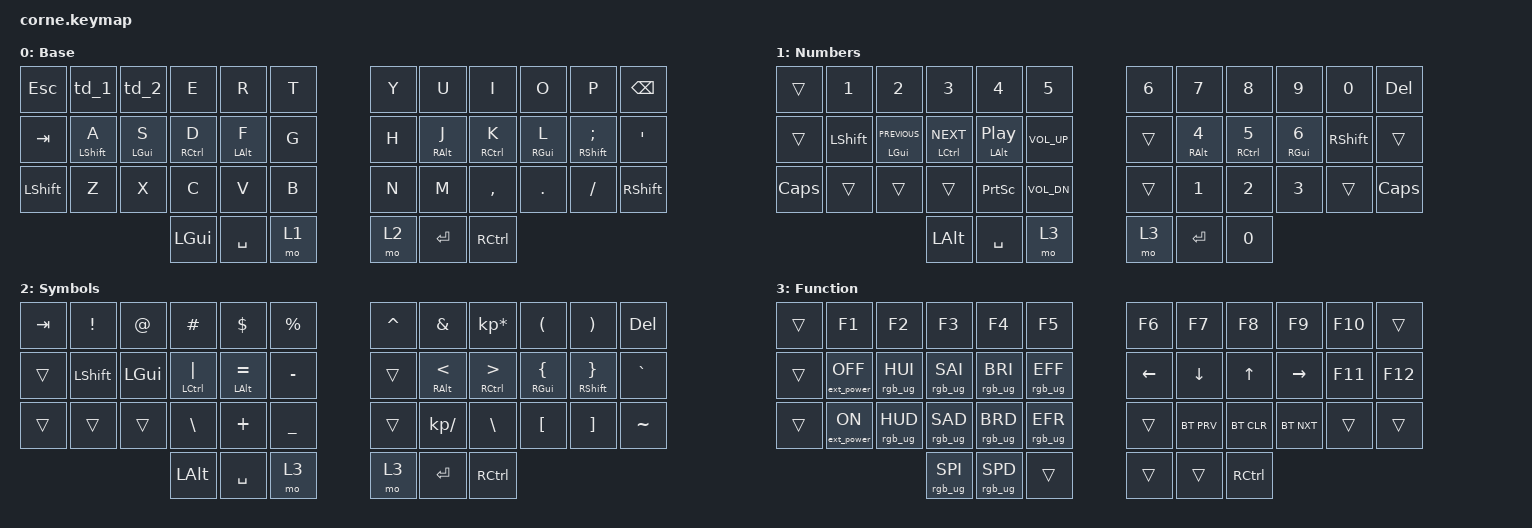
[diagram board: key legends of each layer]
/*
 * Copyright (c) 2020 The ZMK Contributors
 *
 * SPDX-License-Identifier: MIT
 */

#include <behaviors.dtsi>
#include <dt-bindings/zmk/keys.h>
#include <dt-bindings/zmk/bt.h>
#include <dt-bindings/zmk/rgb.h>
#include <dt-bindings/zmk/bt.h>
#include <dt-bindings/zmk/ext_power.h>
 
/ {
        behaviors {
            hr: home_row_mod {
                compatible = "zmk,behavior-hold-tap";
                #binding-cells = <2>;
                flavor = "tap-preferred";
                tapping-term-ms = <280>;
                quick-tap-ms = <175>;
                bindings = <&kp>, <&kp>;
                display-name = "Home-Row-Mod";
            };
             td_1: tap_dance_1 {
                compatible = "zmk,behavior-tap-dance";
                #binding-cells = <0>;
                tapping-term-ms = <200>;
                bindings = <&kp Q>, <&kp ESC>;
            };
            td_2: tap_dance_2 {
                compatible = "zmk,behavior-tap-dance";
                #binding-cells = <0>;
                tapping-term-ms = <200>;
                bindings = <&kp W>, <&kp TAB>;
            };
        };
        keymap {
                compatible = "zmk,keymap";
                default_layer {
                        display-name = "Base";
// -----------------------------------------------------------------------------------------
// |  ESC  |  Q  |  W  |  E  |  R  |  T  |   |  Y  |  U   |  I  |  O  |  P  | BKSP |
// | TAB   |  A  |  S  |  D  |  F  |  G  |   |  H  |  J   |  K  |  L  |  ;  |  '   |
// | LSHFT |  Z  |  X  |  C  |  V  |  B  |   |  N  |  M   |  ,  |  .  |  /  | RSHIFT  |
//                     | GUI | LWR | SPC |   | ENT | RSE  | RCRTL |
                        bindings = <
&kp ESCAPE  &td_1 &td_2 &kp E         &kp R      &kp T     &kp Y      &kp U      &kp I      &kp O    &kp P     &kp BSPC
&kp TAB     &hr LSHIFT A  &hr LGUI S  &hr RCTRL D  &hr LALT F  &kp G     &kp H      &hr RALT J  &hr RCTRL K  &hr  RGUI L    &hr RSHIFT SEMI  &kp SQT
&kp LSHFT   &kp Z  &kp X  &kp C         &kp V      &kp B     &kp N      &kp M      &kp COMMA  &kp DOT  &kp FSLH  &kp RIGHT_SHIFT
                          &kp LEFT_GUI &kp SPACE &mo 1         &mo 2  &kp ENTER    &kp RCTRL
                        >;
                };
                lower_layer {
                        display-name = "Numbers";
// -----------------------------------------------------------------------------------------
// |     |  1  |  2   |  3  |   4  |   5  |   |  6  |  7  |  8  |  9  |  0  | DEL |
// |     |     | PREV | NXT | PLAY | V-UP |   |     |  4  |  5  |  7  |     |      |
// |     |     |     |      |       |     |   |     |  1  |  2  |  3  |     |      |
//                   | LALT |  F-L  | SPC |   | ENT | F-L | 0  |
                        bindings = <
&trans   &kp N1  &kp N2          &kp N3       &kp N4            &kp N5             &kp N6     &kp N7    &kp N8     &kp N9     &kp N0  &kp DEL
&trans   &kp LSHIFT  &hr LGUI C_PREVIOUS  &hr LCTRL C_NEXT   &hr LALT C_PLAY_PAUSE  &kp C_VOLUME_UP    &trans     &hr RALT N4    &hr RCTRL N5     &hr RGUI N6     &kp RSHIFT  &trans
&kp CAPS   &trans  &trans          &trans       &kp PRINTSCREEN   &kp C_VOL_DN       &trans     &kp N1    &kp N2      &kp N3    &trans  &kp CAPS
                                 &kp LEFT_ALT             &kp SPACE  &mo 3          &mo 3  &kp ENTER    &kp N0
                        >;
                };

                raise_layer {
                        display-name = "Symbols";
// ----------------------------------------------------------------------------------------- 

// |  TAB |  !  |  @  |  #  |  $  |  %  |   |  ^  |  &  |  *  |  (  |  )  | DEL |
// |      |     |     | '|' |  =  |  -  |   |     |  <  |  >  |  [  |  ]  |  `   |
// |      |     |     |  \  |  +  |  _  |   |     |  /  |  \  |  {  | } |  ~   |
//                    | LALT | F-L | SPC |   | ENT | F-L | RCTRL |
                        bindings = <
&kp TAB  &kp EXCL  &kp AT  &kp HASH       &kp DLLR   &kp PRCNT    &kp CARET  &kp AMPS  &kp KP_MULTIPLY   &kp LPAR  &kp RPAR         &kp DEL
&trans   &kp LSHIFT  &kp LGUI  &hr LCTRL PIPE   &hr LALT EQUAL  &kp MINUS    &trans     &hr RALT LT   &hr RCTRL GREATER_THAN  &hr RGUI LBRC  &hr RSHIFT RIGHT_BRACE  &kp GRAVE
&trans   &trans    &trans  &kp BACKSLASH  &kp PLUS   &kp UNDER    &trans     &kp KP_SLASH    &kp BACKSLASH  &kp LBKT  &kp RBKT         &kp TILDE
                            &kp LALT     &kp SPACE  &mo 3 &mo 3      &kp ENTER        &kp RCTRL
                        >;
                };

                f_layer {
                        display-name = "Function";
// -----------------------------------------------------------------------------------------
// |      |  F1  |  F2  |  F3  |  F4  |  F5  |   |  F6  |  F7  |  F8  |  F9    |  F10  | DEL  |
// |      |     |     | '|' |  =  |  -  |        |  LFT |  DWN |  UP  |  RHT  |  F11  |  F12 |
// |      |     |     |  \  |  +  |  _  |   |     |  /  |  \  |  {  | } |  ~   |
//                    |      |    |    |   |    |     | RCTRL |
                        bindings = <
&trans  &kp F1           &kp F2           &kp F3           &kp F4           &kp F5             &kp F6           &kp F7  &kp F8  &kp F9   &kp F10  &trans
&trans  &ext_power EP_OFF  &rgb_ug RGB_HUI  &rgb_ug RGB_SAI  &rgb_ug RGB_BRI  &rgb_ug RGB_EFF    &kp LEFT  &kp DOWN   &kp UP  &kp RIGHT  &kp F11  &kp F12
&trans  &ext_power EP_ON  &rgb_ug RGB_HUD  &rgb_ug RGB_SAD  &rgb_ug RGB_BRD  &rgb_ug RGB_EFR    &trans  &bt BT_PRV &bt BT_CLR  &bt BT_NXT    &trans  &trans
                                            &rgb_ug RGB_SPI  &rgb_ug RGB_SPD           &trans             &trans           &trans  &kp RCTRL
                        >;
                };
        };
};
